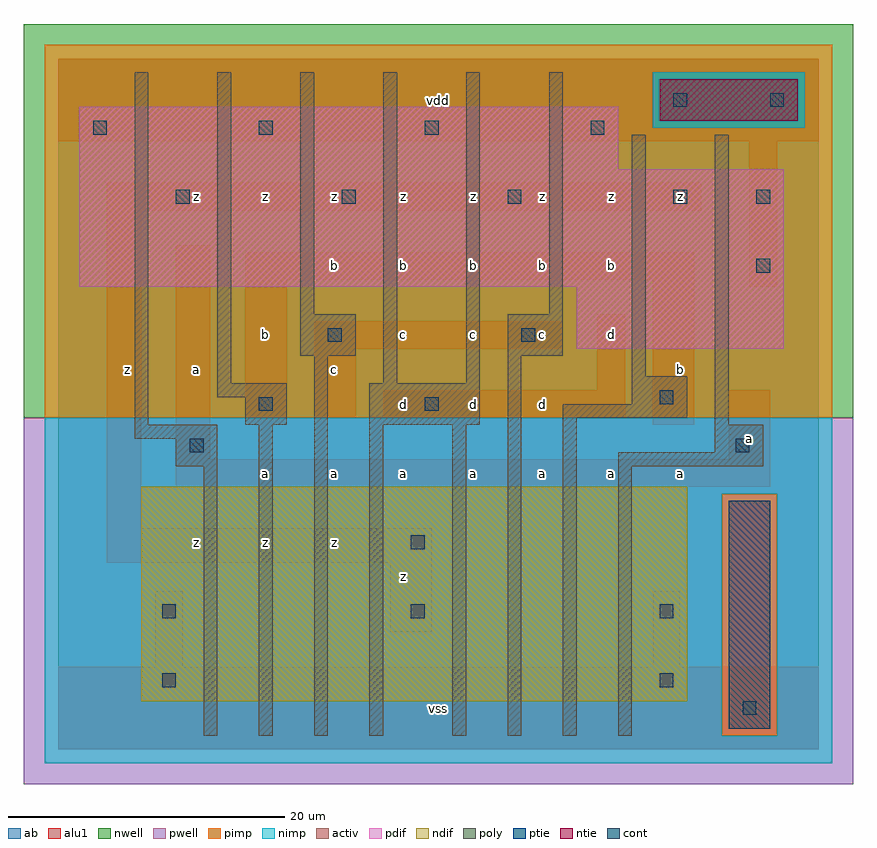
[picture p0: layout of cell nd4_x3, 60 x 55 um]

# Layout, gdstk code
import gdstk
lib = gdstk.Library(unit=1e-6, precision=1e-09)
def R(c, l, rs):  # rectangles x0, y0, x1, y1
    for r in rs: c.add(gdstk.rectangle(r[:2], r[2:], *l))
def A(c, l, x, y, w, h, nx, ny, dx, dy):  # array of equal rectangles
    R(c, l, [(x+i*dx, y+j*dy, x+i*dx+w, y+j*dy+h) for i in range(nx) for j in range(ny)])
ndif = (3, 0)
pdif = (4, 0)
ntie = (5, 0)
ptie = (6, 0)
cont = (25, 0)
pwell = (41, 0)
nwell = (42, 0)
activ = (43, 0)
pimp = (44, 0)
nimp = (45, 0)
poly = (46, 0)
alu1 = (49, 0)
ab = (63, 0)

nd4_x3 = lib.new_cell('nd4_x3')
R(nd4_x3, ndif, [(6,3.5,45.5,19)])
R(nd4_x3, pdif, [(37.5,29,52.5,33.5), (1.5,33.5,52.5,42), (1.5,42,40.5,46.5)])
R(nd4_x3, ntie, [(43.5,45.5,53.5,48.5)])
R(nd4_x3, ptie, [(48.5,1.5,51.5,18)])
A(nd4_x3, cont, 7.5, 9.5, 1, 1, 3, 1, 18, 0)
A(nd4_x3, cont, 8.5, 39.5, 1, 1, 4, 1, 12, 0)
A(nd4_x3, cont, 2.5, 44.5, 1, 1, 4, 1, 12, 0)
R(nd4_x3, cont, [(49.5,2.5,50.5,3.5), (7.5,4.5,8.5,5.5), (43.5,4.5,44.5,5.5), (25.5,14.5,26.5,15.5), (9.5,21.5,10.5,22.5), (49,21.5,50,22.5), (14.5,24.5,15.5,25.5), (26.5,24.5,27.5,25.5), (43.5,25,44.5,26), (19.5,29.5,20.5,30.5), (33.5,29.5,34.5,30.5), (50.5,34.5,51.5,35.5), (50.5,39.5,51.5,40.5), (44.5,46.5,45.5,47.5), (51.5,46.5,52.5,47.5)])
R(nd4_x3, pwell, [(-2.5,-2.5,57.5,24)])
R(nd4_x3, nwell, [(-2.5,24,57.5,52.5)])
R(nd4_x3, activ, [(48.5,1.5,51.5,18), (6,3.5,45.5,19), (37.5,29,52.5,33.5), (1.5,33.5,52.5,42), (1.5,42,40.5,46.5), (43.5,45.5,53.5,48.5)])
R(nd4_x3, pimp, [(48,1,52,18.5), (-1,24,56,45), (-1,45,43,49), (54,45,56,49), (-1,49,56,51)])
R(nd4_x3, nimp, [(-1,-1,56,1), (-1,1,48,18.5), (52,1,56,18.5), (-1,18.5,56,24), (43,45,54,49)])
R(nd4_x3, poly, [(10.5,1,11.5,20.5), (14.5,1,15.5,23.5), (18.5,1,19.5,28.5), (22.5,1,23.5,23.5), (28.5,1,29.5,23.5), (32.5,1,33.5,28.5), (36.5,1,37.5,24), (40.5,1,41.5,20.5), (8.5,20.5,11.5,22.5), (40.5,20.5,51,21.5), (47.5,21.5,51,23.5), (5.5,22.5,11.5,23.5), (5.5,23.5,6.5,49), (13.5,23.5,16.5,25.5), (22.5,23.5,30.5,26.5), (47.5,23.5,48.5,44.5), (36.5,24,45.5,25), (41.5,25,45.5,27), (11.5,25.5,16.5,26.5), (11.5,26.5,12.5,49), (23.5,26.5,24.5,49), (29.5,26.5,30.5,49), (41.5,27,42.5,44.5), (17.5,28.5,21.5,31.5), (32.5,28.5,36.5,31.5), (17.5,31.5,18.5,49), (35.5,31.5,36.5,49)])
R(nd4_x3, alu1, [(0,0,55,6), (0,0,55,6), (7,6,9,11.5), (7,6,9,11.5), (43,6,45,11.5), (43,6,45,11.5), (24,8.5,27,13.5), (24,8.5,27,13.5), (3.5,13.5,27,16), (3.5,13.5,27,16), (3.5,16,6,39), (3.5,16,6,39), (8.5,19,51.5,21), (8.5,19,51.5,21), (8.5,21,11,36.5), (8.5,21,11,36.5), (48.5,21,51.5,26), (48.5,21,51.5,26), (43,23.5,46,34), (43,23.5,46,34), (13.5,24,16.5,34), (13.5,24,16.5,34), (18.5,24,21.5,29), (18.5,24,21.5,29), (23.5,24,41,26), (23.5,24,41,26), (39,26,41,31.5), (39,26,41,31.5), (18.5,29,36.5,31), (18.5,29,36.5,31), (50,33.5,52,44), (50,33.5,52,44), (13.5,34,46,36), (13.5,34,46,36), (3.5,39,46.5,41), (3.5,39,46.5,41), (0,44,55,50), (0,44,55,50)])
R(nd4_x3, ab, [(0,0,55,50)])
nd4_x3.add(gdstk.Label('z', (5,27.5), layer=49, texttype=0))
nd4_x3.add(gdstk.Label('z', (10,15), layer=49, texttype=0))
nd4_x3.add(gdstk.Label('z', (20,15), layer=49, texttype=0))
nd4_x3.add(gdstk.Label('z', (15,15), layer=49, texttype=0))
nd4_x3.add(gdstk.Label('a', (15,20), layer=49, texttype=0))
nd4_x3.add(gdstk.Label('a', (20,20), layer=49, texttype=0))
nd4_x3.add(gdstk.Label('a', (10,27.5), layer=49, texttype=0))
nd4_x3.add(gdstk.Label('c', (20,27.5), layer=49, texttype=0))
nd4_x3.add(gdstk.Label('b', (15,30), layer=49, texttype=0))
nd4_x3.add(gdstk.Label('b', (20,35), layer=49, texttype=0))
nd4_x3.add(gdstk.Label('z', (15,40), layer=49, texttype=0))
nd4_x3.add(gdstk.Label('z', (20,40), layer=49, texttype=0))
nd4_x3.add(gdstk.Label('z', (10,40), layer=49, texttype=0))
nd4_x3.add(gdstk.Label('vss', (27.5,3), layer=49, texttype=0))
nd4_x3.add(gdstk.Label('z', (25,12.5), layer=49, texttype=0))
nd4_x3.add(gdstk.Label('a', (25,20), layer=49, texttype=0))
nd4_x3.add(gdstk.Label('a', (30,20), layer=49, texttype=0))
nd4_x3.add(gdstk.Label('d', (25,25), layer=49, texttype=0))
nd4_x3.add(gdstk.Label('d', (30,25), layer=49, texttype=0))
nd4_x3.add(gdstk.Label('c', (30,30), layer=49, texttype=0))
nd4_x3.add(gdstk.Label('c', (25,30), layer=49, texttype=0))
nd4_x3.add(gdstk.Label('b', (25,35), layer=49, texttype=0))
nd4_x3.add(gdstk.Label('b', (30,35), layer=49, texttype=0))
nd4_x3.add(gdstk.Label('z', (25,40), layer=49, texttype=0))
nd4_x3.add(gdstk.Label('z', (30,40), layer=49, texttype=0))
nd4_x3.add(gdstk.Label('vdd', (27.5,47), layer=49, texttype=0))
nd4_x3.add(gdstk.Label('a', (40,20), layer=49, texttype=0))
nd4_x3.add(gdstk.Label('a', (35,20), layer=49, texttype=0))
nd4_x3.add(gdstk.Label('d', (35,25), layer=49, texttype=0))
nd4_x3.add(gdstk.Label('d', (40,30), layer=49, texttype=0))
nd4_x3.add(gdstk.Label('c', (35,30), layer=49, texttype=0))
nd4_x3.add(gdstk.Label('b', (35,35), layer=49, texttype=0))
nd4_x3.add(gdstk.Label('b', (40,35), layer=49, texttype=0))
nd4_x3.add(gdstk.Label('z', (40,40), layer=49, texttype=0))
nd4_x3.add(gdstk.Label('z', (35,40), layer=49, texttype=0))
nd4_x3.add(gdstk.Label('a', (45,20), layer=49, texttype=0))
nd4_x3.add(gdstk.Label('b', (45,27.5), layer=49, texttype=0))
nd4_x3.add(gdstk.Label('a', (50,22.5), layer=49, texttype=0))
nd4_x3.add(gdstk.Label('z', (45,40), layer=49, texttype=0))

lib.write_gds('nd4_x3.gds')
